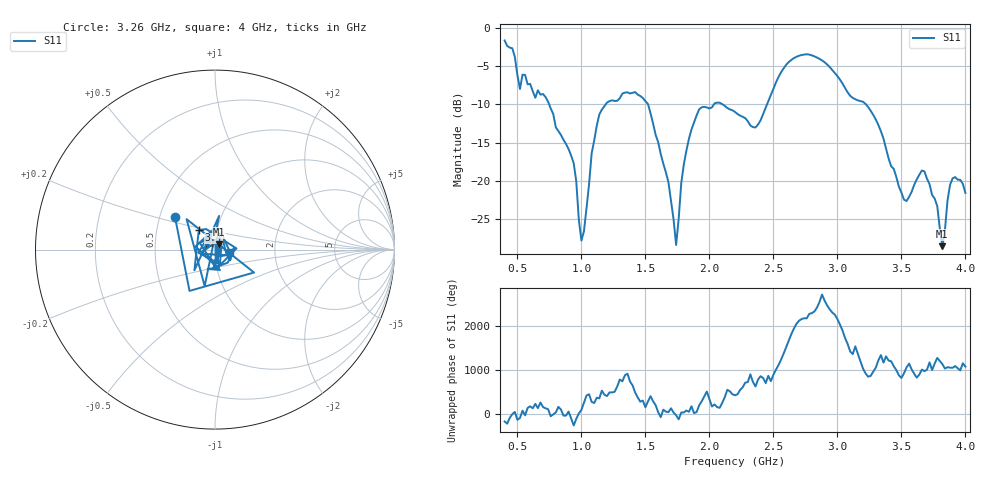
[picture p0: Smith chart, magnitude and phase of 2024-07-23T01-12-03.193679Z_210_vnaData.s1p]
!Created with skrf (http://scikit-rf.org).
# Hz S RI R 50.0
!freq ReS11 ImS11
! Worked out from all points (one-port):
!   181 points, 400 MHz to 4 GHz, reference 50 ohm
!   lowest |S11| = -28.5 dB at 3.82 GHz (marker M1), VSWR 1.08, Z = 52.4 + j3.02 ohm
!   |S11| at or under -10 dB: 748.2 MHz to 1.189 GHz (441.3 MHz wide, 45.5 % of centre); 1.521 GHz to 2.035 GHz (513.9 MHz wide, 28.9 % of centre); 3.224 GHz to end of sweep (the widest 3 of 4)
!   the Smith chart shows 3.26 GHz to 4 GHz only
!   S11 on the Smith chart (normalised r, x): 3.26 GHz: 0.60, +0.24; 3.4 GHz: 0.82, +0.18; 4 GHz: 1.18, -0.03
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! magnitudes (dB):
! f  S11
! 400 MHz  -1.6
! 460 MHz  -2.7
! 520 MHz  -8.0
! 700 MHz  -8.6
! 860 MHz  -14.6
! 940 MHz  -17.7
! 1 GHz  -27.8
! 1.14 GHz  -11.3
! 1.3 GHz  -9.2
! 1.52 GHz  -9.9
! 1.68 GHz  -20.2
! 1.74 GHz  -28.4
! 1.76 GHz  -24.9
! 1.82 GHz  -16.1
! 1.92 GHz  -10.6
! 2.2 GHz  -11.0
! 2.36 GHz  -13.0
! 2.66 GHz  -3.9
! 2.88 GHz  -4.2
! 3.1 GHz  -8.9
! 3.26 GHz  -10.8
! 3.4 GHz  -17.1
! 3.56 GHz  -22.1
! 3.68 GHz  -18.8
! 3.78 GHz  -23.3
! 3.82 GHz  -28.5
! 3.9 GHz  -19.7
! 4 GHz  -21.6
